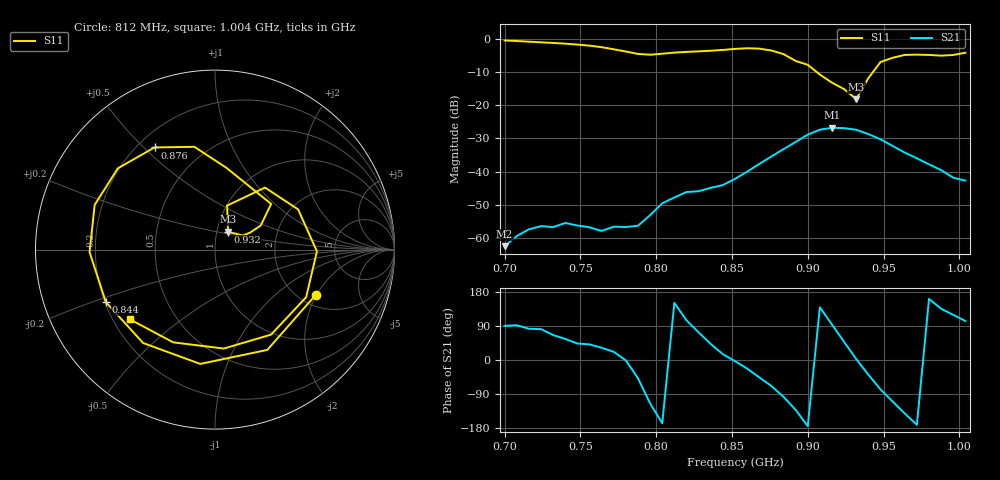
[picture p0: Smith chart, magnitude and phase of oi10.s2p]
# Hz S RI R 50
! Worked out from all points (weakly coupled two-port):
!   39 points, 700 MHz to 1.004 GHz, reference 50 ohm
!   highest |S21| = -26.82 dB at 916 MHz (marker M1); lowest = -62.4 dB at 700 MHz (marker M2)
!   lowest |S11| = -18.2 dB at 932 MHz (marker M3), VSWR 1.28, Z = 56.6 + j11.4 ohm
!   |S11| at or under -10 dB: 905.8 MHz to 943.1 MHz (37.36 MHz wide, 4.04 % of centre)
!   S12 and S22 are empty: the file has one direction only
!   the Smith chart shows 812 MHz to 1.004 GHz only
!   S11 on the Smith chart (normalised r, x): 812 MHz: 2.42, -1.97; 844 MHz: 0.20, -0.22; 876 MHz: 0.27, +0.54; 932 MHz: 1.13, +0.23; 1.004 GHz: 0.27, -0.34
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7e8  0.7545 0.5545  -9.65e-07 0.00076  0 0  0 0
7.24e8  0.8417 -0.2471  0.000226 0.0015  0 0  0 0
7.4e8  0.4619 -0.6998  0.00096 0.0014  0 0  0 0
7.56e8  -0.1855 -0.7595  0.0011 0.000963  0 0  0 0
7.72e8  -0.6567 -0.2112  0.00139 0.000549  0 0  0 0
7.8e8  -0.6036 0.2104  0.00147 -2.96e-05  0 0  0 0
7.96e8  0.2162 0.5285  -0.000926 -0.00202  0 0  0 0
8.04e8  0.558 0.198  -0.00326 -0.000764  0 0  0 0
8.12e8  0.5607 -0.2528  -0.00357 0.002  0 0  0 0
8.28e8  -0.0821 -0.6369  0.0015 0.00486  0 0  0 0
8.44e8  -0.6084 -0.292  0.00607 0.00166  0 0  0 0
8.52e8  -0.6988 -0.0142  0.00778 -0.000407  0 0  0 0
8.76e8  -0.3367 0.5693  0.00616 -0.0157  0 0  0 0
9e8  0.3128 0.2545  -0.0359 -0.00339  0 0  0 0
9.08e8  0.2548 0.1342  -0.0323 0.028  0 0  0 0
9.16e8  0.1955 0.0946  -0.00266 0.0455  0 0  0 0
9.32e8  0.0726 0.0994  0.0426 0.00174  0 0  0 0
9.48e8  0.2786 0.3456  0.00655 -0.0299  0 0  0 0
9.56e8  0.463 0.224  -0.00818 -0.023  0 0  0 0
9.64e8  0.568 -0.0101  -0.0151 -0.0121  0 0  0 0
9.8e8  0.3124 -0.4737  -0.0122 0.00412  0 0  0 0
1.004e9  -0.4729 -0.3891  -0.00163 0.00716  0 0  0 0
